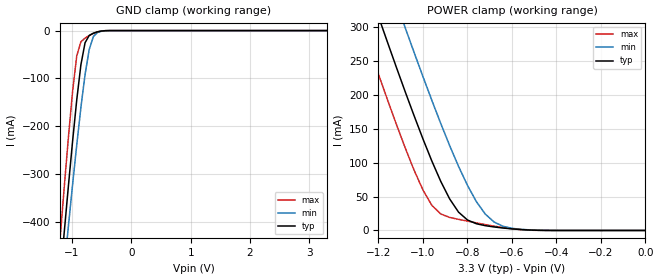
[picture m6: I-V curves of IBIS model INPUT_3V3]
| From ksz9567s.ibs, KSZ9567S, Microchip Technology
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|   Model INPUT_3V3
[Model]  INPUT_3V3
Model_type Input
Polarity   Non-Inverting
Enable   Active-High
Vinl =   1.2000V
Vinh =   2.1000V
C_comp   1.5000pF   1.4000pF   1.7000pF
[Temperature Range]   42.0000   0.1250k   -40.0000
[Voltage Range]   3.3000V   2.9700V   3.6300V
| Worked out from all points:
|   GND clamp passes 1 mA (typ) near -0.50 V on its own axis
|   POWER clamp passes 1 mA (typ) near -0.54 V on its own axis
[GND_clamp]
|Voltage   I(typ)   I(min)   I(max)
-3.3V     -3.678A    -3.436A    -3.916A
-1.2V     -519mA     -585.5mA   -433.8mA
-1.13V    -420.3mA   -495.9mA   -325.9mA
-1.06V    -323.9mA   -407.8mA   -222.2mA
-990mV    -231.1mA   -321.7mA   -126.7mA
-920mV    -144.7mA   -238.8mA   -52.71mA
-850mV    -71.39mA   -160.9mA   -23.36mA
-780mV    -25.35mA   -91.91mA   -15.75mA
-710mV    -10.22mA   -39.55mA   -10.37mA
-640mV    -5.456mA   -12.39mA   -5.873mA
-360mV    -20.95uA   -64.41uA   -3.06uA
3.3V      195.9pA    11.54uA    120.1pA
[POWER_clamp]
|Voltage   I(typ)   I(min)   I(max)
-3.28V    2.285A     2.35A      3.227A
-1.28V    390.7mA    482.8mA    306.2mA
-1.2V     315.2mA    409.2mA    230.2mA
-1.16V    277.8mA    372.4mA    193mA
-1.08V    204.5mA    298.8mA    121.8mA
-960mV    102.2mA    191.6mA    36.92mA
-880mV    46.44mA    125mA      19.21mA
-840mV    26.97mA    94.37mA    16.4mA
-760mV    9.925mA    42.53mA    11.18mA
-680mV    5.17mA     12.36mA    6.315mA
-520mV    636.6uA    885.3uA    435.6uA
0V        195.9pA    2.768nA    157.9pA
